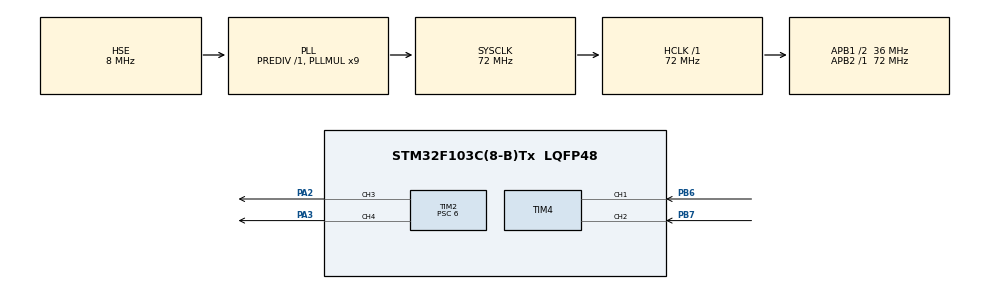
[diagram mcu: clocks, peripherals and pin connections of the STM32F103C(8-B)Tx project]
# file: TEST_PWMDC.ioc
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Mcu.Family=STM32F1
Mcu.Name=STM32F103C(8-B)Tx
Mcu.Package=LQFP48
NVIC.PriorityGroup=NVIC_PRIORITYGROUP_4
NVIC.TIM1_UP_IRQn=true\:15\:0\:false\:false\:true\:false\:true\:true
NVIC.TIM4_IRQn=true\:0\:0\:false\:false\:true\:true\:true\:true
NVIC.TimeBase=TIM1_UP_IRQn
NVIC.TimeBaseIP=TIM1
PA13.Mode=Serial_Wire
PA13.Signal=SYS_JTMS-SWDIO
PA14.Mode=Serial_Wire
PA14.Signal=SYS_JTCK-SWCLK
PA2.Signal=S_TIM2_CH3
PA3.Signal=S_TIM2_CH4
PB6.GPIO_PuPd=GPIO_PULLUP
PB6.Signal=S_TIM4_CH1
PB7.GPIO_PuPd=GPIO_PULLUP
PB7.Signal=S_TIM4_CH2
PD0-OSC_IN.Mode=HSE-External-Oscillator
PD0-OSC_IN.Signal=RCC_OSC_IN
PD1-OSC_OUT.Mode=HSE-External-Oscillator
PD1-OSC_OUT.Signal=RCC_OSC_OUT
ProjectManager.HeapSize=0x200
ProjectManager.StackSize=0x400
ProjectManager.TargetToolchain=STM32CubeIDE
RCC.AHBFreq_Value=72000000
RCC.APB1CLKDivider=RCC_HCLK_DIV2
RCC.APB1Freq_Value=36000000
RCC.APB1TimFreq_Value=72000000
RCC.APB2Freq_Value=72000000
RCC.APB2TimFreq_Value=72000000
RCC.HCLKFreq_Value=72000000
RCC.PLLMUL=RCC_PLL_MUL9
RCC.PLLSourceVirtual=RCC_PLLSOURCE_HSE
RCC.SYSCLKFreq_VALUE=72000000
RCC.SYSCLKSource=RCC_SYSCLKSOURCE_PLLCLK
RCC.USBFreq_Value=72000000
SH.S_TIM2_CH3.0=TIM2_CH3,PWM Generation3 CH3
SH.S_TIM2_CH4.0=TIM2_CH4,PWM Generation4 CH4
SH.S_TIM4_CH1.0=TIM4_CH1,Encoder_Interface
SH.S_TIM4_CH2.0=TIM4_CH2,Encoder_Interface
TIM2.Channel-PWM\ Generation3\ CH3=TIM_CHANNEL_3
TIM2.Channel-PWM\ Generation4\ CH4=TIM_CHANNEL_4
TIM2.Period=999
TIM2.Prescaler=6
TIM3.Period=999
TIM3.Prescaler=71
TIM4.EncoderMode=TIM_ENCODERMODE_TI12
VP_SYS_VS_tim1.Mode=TIM1
VP_TIM2_VS_ClockSourceINT.Mode=Internal
VP_TIM3_VS_ClockSourceINT.Mode=Internal
board=custom

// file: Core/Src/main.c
/* USER CODE BEGIN Header */
/**
  ******************************************************************************
  * @file           : main.c
  * @brief          : Main program body
  ******************************************************************************
  * @attention
  *
  * Copyright (c) 2023 STMicroelectronics.
  * All rights reserved.
  *
  * This software is licensed under terms that can be found in the LICENSE file
  * in the root directory of this software component.
  * If no LICENSE file comes with this software, it is provided AS-IS.
  *
  ******************************************************************************
  */
/* USER CODE END Header */
#include "main.h"

TIM_HandleTypeDef htim2;
TIM_HandleTypeDef htim3;
TIM_HandleTypeDef htim4;

/* USER CODE BEGIN PV */
int16_t count;
int _SoXung, counter, _SoXungTruocDo, _ViTriRobot;
double _VanTocThucTe, _VanTocLoc, _VanTocTruocDo;
double DeltaT = 0.001;

uint8_t DirTest;
uint16_t SpeedTest;

void HAL_TIM_IC_CaptureCallback(TIM_HandleTypeDef *htim) {
	count = __HAL_TIM_GET_COUNTER(&htim4);
	counter += count;
	TIM4->CNT = 0;
	_SoXung = counter / 4;
}

/* USER CODE END PV */

void SystemClock_Config(void);
static void MX_GPIO_Init(void);
static void MX_TIM2_Init(void);
static void MX_TIM4_Init(void);
static void MX_TIM3_Init(void);

int main(void)
{

  /* MCU Configuration--------------------------------------------------------*/

  /* Reset of all peripherals, Initializes the Flash interface and the Systick. */
  HAL_Init();

  /* Configure the system clock */
  SystemClock_Config();

  /* Initialize all configured peripherals */
  MX_GPIO_Init();
  MX_TIM2_Init();
  MX_TIM4_Init();
  MX_TIM3_Init();
  /* USER CODE BEGIN 2 */
  HAL_TIM_PWM_Start(&htim2, TIM_CHANNEL_3);
  HAL_TIM_PWM_Start(&htim2, TIM_CHANNEL_4);
  HAL_TIM_Encoder_Start_IT(&htim4, TIM_CHANNEL_ALL);
  HAL_TIM_Base_Start_IT(&htim3);
  /* USER CODE END 2 */

  /* Infinite loop */
  while (1)
  {

  }
}

void SystemClock_Config(void)
{
  RCC_OscInitTypeDef RCC_OscInitStruct = {0};
  RCC_ClkInitTypeDef RCC_ClkInitStruct = {0};

  /** Initializes the RCC Oscillators according to the specified parameters
  * in the RCC_OscInitTypeDef structure.
  */
  RCC_OscInitStruct.OscillatorType = RCC_OSCILLATORTYPE_HSE;
  RCC_OscInitStruct.HSEState = RCC_HSE_ON;
  RCC_OscInitStruct.HSEPredivValue = RCC_HSE_PREDIV_DIV1;
  RCC_OscInitStruct.HSIState = RCC_HSI_ON;
  RCC_OscInitStruct.PLL.PLLState = RCC_PLL_ON;
  RCC_OscInitStruct.PLL.PLLSource = RCC_PLLSOURCE_HSE;
  RCC_OscInitStruct.PLL.PLLMUL = RCC_PLL_MUL9;
  if (HAL_RCC_OscConfig(&RCC_OscInitStruct) != HAL_OK)
  {
    Error_Handler();
  }

  /** Initializes the CPU, AHB and APB buses clocks
  */
  RCC_ClkInitStruct.ClockType = RCC_CLOCKTYPE_HCLK|RCC_CLOCKTYPE_SYSCLK
                              |RCC_CLOCKTYPE_PCLK1|RCC_CLOCKTYPE_PCLK2;
  RCC_ClkInitStruct.SYSCLKSource = RCC_SYSCLKSOURCE_PLLCLK;
  RCC_ClkInitStruct.AHBCLKDivider = RCC_SYSCLK_DIV1;
  RCC_ClkInitStruct.APB1CLKDivider = RCC_HCLK_DIV2;
  RCC_ClkInitStruct.APB2CLKDivider = RCC_HCLK_DIV1;

  if (HAL_RCC_ClockConfig(&RCC_ClkInitStruct, FLASH_LATENCY_2) != HAL_OK)
  {
    Error_Handler();
  }
}

static void MX_TIM2_Init(void)
{

  TIM_ClockConfigTypeDef sClockSourceConfig = {0};
  TIM_MasterConfigTypeDef sMasterConfig = {0};
  TIM_OC_InitTypeDef sConfigOC = {0};

  htim2.Instance = TIM2;
  htim2.Init.Prescaler = 6;
  htim2.Init.CounterMode = TIM_COUNTERMODE_UP;
  htim2.Init.Period = 999;
  htim2.Init.ClockDivision = TIM_CLOCKDIVISION_DIV1;
  htim2.Init.AutoReloadPreload = TIM_AUTORELOAD_PRELOAD_DISABLE;
  if (HAL_TIM_Base_Init(&htim2) != HAL_OK)
  {
    Error_Handler();
  }
  sClockSourceConfig.ClockSource = TIM_CLOCKSOURCE_INTERNAL;
  if (HAL_TIM_ConfigClockSource(&htim2, &sClockSourceConfig) != HAL_OK)
  {
    Error_Handler();
  }
  if (HAL_TIM_PWM_Init(&htim2) != HAL_OK)
  {
    Error_Handler();
  }
  sMasterConfig.MasterOutputTrigger = TIM_TRGO_RESET;
  sMasterConfig.MasterSlaveMode = TIM_MASTERSLAVEMODE_DISABLE;
  if (HAL_TIMEx_MasterConfigSynchronization(&htim2, &sMasterConfig) != HAL_OK)
  {
    Error_Handler();
  }
  sConfigOC.OCMode = TIM_OCMODE_PWM1;
  sConfigOC.Pulse = 0;
  sConfigOC.OCPolarity = TIM_OCPOLARITY_HIGH;
  sConfigOC.OCFastMode = TIM_OCFAST_DISABLE;
  if (HAL_TIM_PWM_ConfigChannel(&htim2, &sConfigOC, TIM_CHANNEL_3) != HAL_OK)
  {
    Error_Handler();
  }
  if (HAL_TIM_PWM_ConfigChannel(&htim2, &sConfigOC, TIM_CHANNEL_4) != HAL_OK)
  {
    Error_Handler();
  }
  HAL_TIM_MspPostInit(&htim2);

}

static void MX_TIM3_Init(void)
{

  TIM_ClockConfigTypeDef sClockSourceConfig = {0};
  TIM_MasterConfigTypeDef sMasterConfig = {0};

  htim3.Instance = TIM3;
  htim3.Init.Prescaler = 71;
  htim3.Init.CounterMode = TIM_COUNTERMODE_UP;
  htim3.Init.Period = 999;
  htim3.Init.ClockDivision = TIM_CLOCKDIVISION_DIV1;
  htim3.Init.AutoReloadPreload = TIM_AUTORELOAD_PRELOAD_DISABLE;
  if (HAL_TIM_Base_Init(&htim3) != HAL_OK)
  {
    Error_Handler();
  }
  sClockSourceConfig.ClockSource = TIM_CLOCKSOURCE_INTERNAL;
  if (HAL_TIM_ConfigClockSource(&htim3, &sClockSourceConfig) != HAL_OK)
  {
    Error_Handler();
  }
  sMasterConfig.MasterOutputTrigger = TIM_TRGO_RESET;
  sMasterConfig.MasterSlaveMode = TIM_MASTERSLAVEMODE_DISABLE;
  if (HAL_TIMEx_MasterConfigSynchronization(&htim3, &sMasterConfig) != HAL_OK)
  {
    Error_Handler();
  }

}

static void MX_TIM4_Init(void)
{

  TIM_Encoder_InitTypeDef sConfig = {0};
  TIM_MasterConfigTypeDef sMasterConfig = {0};

  htim4.Instance = TIM4;
  htim4.Init.Prescaler = 0;
  htim4.Init.CounterMode = TIM_COUNTERMODE_UP;
  htim4.Init.Period = 65535;
  htim4.Init.ClockDivision = TIM_CLOCKDIVISION_DIV1;
  htim4.Init.AutoReloadPreload = TIM_AUTORELOAD_PRELOAD_DISABLE;
  sConfig.EncoderMode = TIM_ENCODERMODE_TI12;
  sConfig.IC1Polarity = TIM_ICPOLARITY_RISING;
  sConfig.IC1Selection = TIM_ICSELECTION_DIRECTTI;
  sConfig.IC1Prescaler = TIM_ICPSC_DIV1;
  sConfig.IC1Filter = 0;
  sConfig.IC2Polarity = TIM_ICPOLARITY_RISING;
  sConfig.IC2Selection = TIM_ICSELECTION_DIRECTTI;
  sConfig.IC2Prescaler = TIM_ICPSC_DIV1;
  sConfig.IC2Filter = 0;
  if (HAL_TIM_Encoder_Init(&htim4, &sConfig) != HAL_OK)
  {
    Error_Handler();
  }
  sMasterConfig.MasterOutputTrigger = TIM_TRGO_RESET;
  sMasterConfig.MasterSlaveMode = TIM_MASTERSLAVEMODE_DISABLE;
  if (HAL_TIMEx_MasterConfigSynchronization(&htim4, &sMasterConfig) != HAL_OK)
  {
    Error_Handler();
  }

}

static void MX_GPIO_Init(void)
{

  /* GPIO Ports Clock Enable */
  __HAL_RCC_GPIOD_CLK_ENABLE();
  __HAL_RCC_GPIOA_CLK_ENABLE();
  __HAL_RCC_GPIOB_CLK_ENABLE();

}

void HAL_TIM_PeriodElapsedCallback(TIM_HandleTypeDef *htim)
{
  if (htim->Instance == TIM1) {
    HAL_IncTick();
  }
  /* USER CODE BEGIN Callback 1 */
  if(htim->Instance == TIM3) {
	_ViTriRobot = _SoXung - _SoXungTruocDo;
	_VanTocThucTe = ((_ViTriRobot/DeltaT)/200)*60; //�?ổi vận tốc qua rpm,(Vận tốc ảo)
	_VanTocLoc = 0.854 * _VanTocLoc + 0.0728 * _VanTocThucTe + 0.0728 * _VanTocTruocDo;//Bo loc van toc thong thap
	_VanTocTruocDo = _VanTocThucTe; //cập nhật biến V1
	_SoXungTruocDo=_SoXung;

  }
  /* USER CODE END Callback 1 */
}

void Error_Handler(void)
{
  __disable_irq();
  while (1)
  {
  }
}
